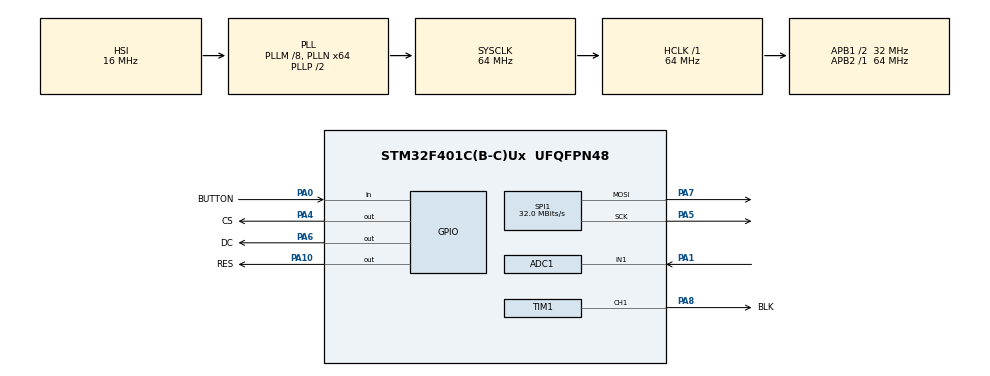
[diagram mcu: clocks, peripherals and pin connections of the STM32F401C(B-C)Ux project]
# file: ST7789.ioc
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ADC1.Channel-0\#ChannelRegularConversion=ADC_CHANNEL_1
ADC1.NbrOfConversionFlag=1
ADC1.Rank-0\#ChannelRegularConversion=1
ADC1.SamplingTime-0\#ChannelRegularConversion=ADC_SAMPLETIME_3CYCLES
ADC1.master=1
Mcu.Family=STM32F4
Mcu.Name=STM32F401C(B-C)Ux
Mcu.Package=UFQFPN48
NVIC.PriorityGroup=NVIC_PRIORITYGROUP_4
PA0-WKUP.GPIO_Label=BUTTON
PA0-WKUP.GPIO_PuPd=GPIO_PULLDOWN
PA0-WKUP.Signal=GPIO_Input
PA1.Signal=ADCx_IN1
PA10.GPIO_Label=RES
PA10.Signal=GPIO_Output
PA13.Mode=Serial_Wire
PA13.Signal=SYS_JTMS-SWDIO
PA14.Mode=Serial_Wire
PA14.Signal=SYS_JTCK-SWCLK
PA4.GPIO_Label=CS
PA4.Signal=GPIO_Output
PA5.Mode=TX_Only_Simplex_Unidirect_Master
PA5.Signal=SPI1_SCK
PA6.GPIO_Label=DC
PA6.Signal=GPIO_Output
PA7.Mode=TX_Only_Simplex_Unidirect_Master
PA7.Signal=SPI1_MOSI
PA8.GPIO_Label=BLK
PA8.Signal=S_TIM1_CH1
PH0\ -\ OSC_IN.Mode=HSE-External-Oscillator
PH0\ -\ OSC_IN.Signal=RCC_OSC_IN
PH1\ -\ OSC_OUT.Mode=HSE-External-Oscillator
PH1\ -\ OSC_OUT.Signal=RCC_OSC_OUT
ProjectManager.HeapSize=0x200
ProjectManager.StackSize=0x400
ProjectManager.TargetToolchain=STM32CubeIDE
RCC.48MHZClocksFreq_Value=32000000
RCC.AHBFreq_Value=64000000
RCC.APB1CLKDivider=RCC_HCLK_DIV2
RCC.APB1Freq_Value=32000000
RCC.APB1TimFreq_Value=64000000
RCC.APB2Freq_Value=64000000
RCC.APB2TimFreq_Value=64000000
RCC.CortexFreq_Value=64000000
RCC.HCLKFreq_Value=64000000
RCC.HSE_VALUE=25000000
RCC.HSI_VALUE=16000000
RCC.LSE_VALUE=32768
RCC.PLLM=8
RCC.PLLN=64
RCC.SYSCLKFreq_VALUE=64000000
RCC.SYSCLKSource=RCC_SYSCLKSOURCE_PLLCLK
RCC.VCOOutputFreq_Value=128000000
SH.ADCx_IN1.0=ADC1_IN1,IN1
SH.S_TIM1_CH1.0=TIM1_CH1,PWM Generation1 CH1
SPI1.CLKPolarity=SPI_POLARITY_HIGH
SPI1.CalculateBaudRate=32.0 MBits/s
SPI1.Direction=SPI_DIRECTION_2LINES
SPI1.Mode=SPI_MODE_MASTER
SPI1.VirtualType=VM_MASTER
TIM1.Channel-PWM\ Generation1\ CH1=TIM_CHANNEL_1
TIM1.Period=209
TIM1.Prescaler=999
TIM1.Pulse-PWM\ Generation1\ CH1=105
board=custom

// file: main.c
/* USER CODE BEGIN Header */
/**
  ******************************************************************************
  * @file           : main.c
  * @brief          : Main program body
  ******************************************************************************
  * @attention
  *
  * Copyright (c) 2023 STMicroelectronics.
  * All rights reserved.
  *
  * This software is licensed under terms that can be found in the LICENSE file
  * in the root directory of this software component.
  * If no LICENSE file comes with this software, it is provided AS-IS.
  *
  ******************************************************************************
  */
/* USER CODE END Header */
#include "main.h"
#include "adc.h"
#include "spi.h"
#include "tim.h"
#include "gpio.h"

/* USER CODE BEGIN Includes */
#include <ST7789.h>
#include "fonts.h"
#include "stdio.h"
#include "analog_scale.h"
#include "string.h"
/* USER CODE END Includes */

/* USER CODE BEGIN PTD */
uint32_t  time = 0;
int val = 0;
int button_counter = 0;
/* USER CODE END PTD */

/* USER CODE BEGIN PD */
typedef struct {
	TIM_TypeDef *htim_bk;		//------- для подсветки с PWM:- таймер
	uint32_t channel_htim_bk;	//----------------------------- канал таймера

	GPIO_TypeDef *blk_port;		//просто для включения и выключения подсветки, если htim_bk = 0 (без PWM, определен порт вывода)
	uint16_t blk_pin;			//----------------------------------------------------------------------- пин порта

	uint8_t bk_percent;			//яркость подсветки для режима PWM, %
								//либо 0 - подсветка отключена, > 0 подсветка включена, если если htim_bk = 0 (без PWM, определен порт вывода)
} LCD_BackLight_data;

/* USER CODE END PD */

/* USER CODE BEGIN PV */
char trans_str[64];
uint16_t adc = 0;
/* USER CODE END PV */

void SystemClock_Config(void);

int main(void)
{

  /* MCU Configuration--------------------------------------------------------*/

  /* Reset of all peripherals, Initializes the Flash interface and the Systick. */
  HAL_Init();

  /* Configure the system clock */
  SystemClock_Config();

  /* Initialize all configured peripherals */
  MX_GPIO_Init();
  MX_SPI1_Init();
  MX_ADC1_Init();
  MX_TIM1_Init();
  /* USER CODE BEGIN 2 */

  ST7789_Init();
  /*LCD_BackLight_data bkl_data = { TIM1,
		  	  	  	  	  	  	  TIM_CHANNEL_1,
 								  0,
 								  0,
 								  50  };*/
 ST7789_BacklightON();
  /*ST7789_FillScreen( RGB565(0, 0, 0) );
  ST7789_rotation( 1 );
  if((HAL_GetTick() - time) > 1000) // интервал 1000мс = 1сек
          {
     	ST7789_print( 30, 120, RGB565(255, 255, 255) , RGB565(0, 0, 0) , 1, &Font_16x26, 1, "Welcome to" );
     	  	ST7789_print( 50, 150, RGB565(255, 255, 255) , RGB565(0, 0, 0) , 1, &Font_16x26, 1, "SkySurf" );
                  time = HAL_GetTick();
          }
 	  	ST7789_FillScreen( RGB565(0, 0, 0) );*/
  /* USER CODE END 2 */

  /* Infinite loop */
  /* USER CODE BEGIN WHILE */
  while (1)
  {

	 /* HAL_ADC_Start(&hadc1); // запускаем преобразование сигнала АЦП
	           HAL_ADC_PollForConversion(&hadc1, 100); // ожидаем окончания преобразования
	           adc = HAL_ADC_GetValue(&hadc1); // читаем полученное значение в переменную adc
	           HAL_ADC_Stop(&hadc1); // останавливаем АЦП (не обязательно)
	           ST7789_print( 40, 40, RGB565(255, 255, 255) , RGB565(0, 0, 0) , 1, &Font_16x26, 1, "ADC = ");
	           //0ST7789_printADC( 130, 40, RGB565(255, 255, 255) , RGB565(0, 0, 0) , 1, &Font_16x26, 1, adc);

	           HAL_Delay(1000);
*/
	           //HAL_UART_Transmit(&huart1, (uint8_t*)trans_str, strlen(trans_str), 1000);
	           //HAL_Delay(1000);
    /* USER CODE END WHILE */

    /* USER CODE BEGIN 3 */
	  //ST7789_BacklightON();

	  	 	ST7789_print( 40, 40, RGB565(255, 255, 255) , RGB565(0, 0, 0) , 1, &Font_16x26, 1, "Mode" );
	  	 	ST7789_print( 40, 70, RGB565(255, 255, 255) , RGB565(0, 0, 0) , 1, &Font_16x26, 1, "Parameters" );
	  	  	ST7789_print( 40, 100, RGB565(255, 255, 255) , RGB565(0, 0, 0) , 1, &Font_16x26, 1, "Settings" );
	  	  	ST7789_print( 40, 130, RGB565(255, 255, 255) , RGB565(0, 0, 0) , 1, &Font_16x26, 1, "FW Update" );

	  			  if(HAL_GPIO_ReadPin(BUTTON_GPIO_Port, BUTTON_Pin)==0)
	  			  {
	  				  val++;
	  				  //HAL_Delay(1000);
	  			  }

	  	  	switch (val) {
	  	  case 1:
	  		ST7789_print( 20, 40, RGB565(255, 255, 255) , RGB565(0, 0, 0) , 1, &Font_16x26, 1, " " );
	  		ST7789_print( 20, 70, RGB565(255, 255, 255) , RGB565(0, 0, 0) , 1, &Font_16x26, 1, ">" );
	  		ST7789_print( 20, 100, RGB565(255, 255, 255) , RGB565(0, 0, 0) , 1, &Font_16x26, 1, " " );
	  		ST7789_print( 20, 130, RGB565(255, 255, 255) , RGB565(0, 0, 0) , 1, &Font_16x26, 1, " " );
	  	    break;
	  	  case 2:
	  		ST7789_print( 20, 40, RGB565(255, 255, 255) , RGB565(0, 0, 0) , 1, &Font_16x26, 1, " " );
	  		ST7789_print( 20, 70, RGB565(255, 255, 255) , RGB565(0, 0, 0) , 1, &Font_16x26, 1, " " );
	  		ST7789_print( 20, 100, RGB565(255, 255, 255) , RGB565(0, 0, 0) , 1, &Font_16x26, 1, ">" );
	  		ST7789_print( 20, 130, RGB565(255, 255, 255) , RGB565(0, 0, 0) , 1, &Font_16x26, 1, " " );
	  	    break;
	  	  case 3:
	  		ST7789_print( 20, 40, RGB565(255, 255, 255) , RGB565(0, 0, 0) , 1, &Font_16x26, 1, " " );
	  		ST7789_print( 20, 70, RGB565(255, 255, 255) , RGB565(0, 0, 0) , 1, &Font_16x26, 1, " " );
	  		ST7789_print( 20, 100, RGB565(255, 255, 255) , RGB565(0, 0, 0) , 1, &Font_16x26, 1, " " );
	  		ST7789_print( 20, 130, RGB565(255, 255, 255) , RGB565(0, 0, 0) , 1, &Font_16x26, 1, ">" );
	  		break;
	  	  default:
	  		ST7789_print( 20, 40, RGB565(255, 255, 255) , RGB565(0, 0, 0) , 1, &Font_16x26, 1, ">" );
	  		ST7789_print( 20, 70, RGB565(255, 255, 255) , RGB565(0, 0, 0) , 1, &Font_16x26, 1, " " );
	  		ST7789_print( 20, 100, RGB565(255, 255, 255) , RGB565(0, 0, 0) , 1, &Font_16x26, 1, " " );
	  		ST7789_print( 20, 130, RGB565(255, 255, 255) , RGB565(0, 0, 0) , 1, &Font_16x26, 1, " " );
	  		val = 0;
	  	    break;
	  	  }

	  	// установка ротации дисплея не обязательно так как по умолчанию стоит режим 1 ( всего 4 режима 1,2,3,4 )

	  // рисуем треугольник пустотелый
	  	//ST7789_DrawTriangle(20, 50, 100, 50, 50, 50, RGB565(0, 0, 0) );
/*
	  	ST7789_print( 20, 40, RGB565(255, 255, 255) , RGB565(0, 0, 0) , 1, &Font_16x26, 1, ">" );
	 	ST7789_print( 40, 40, RGB565(255, 255, 255) , RGB565(0, 0, 0) , 1, &Font_16x26, 1, "Mode" );

	 	ST7789_print( 40, 70, RGB565(255, 255, 255) , RGB565(0, 0, 0) , 1, &Font_16x26, 1, "Parameters" );
	  	ST7789_print( 40, 100, RGB565(255, 255, 255) , RGB565(0, 0, 0) , 1, &Font_16x26, 1, "Settings" );
	  	ST7789_print( 40, 130, RGB565(255, 255, 255) , RGB565(0, 0, 0) , 1, &Font_16x26, 1, "FW Update" );
	  	ST7789_InversionMode(0);
*/
  }
  /* USER CODE END 3 */
}

void SystemClock_Config(void)
{
  RCC_OscInitTypeDef RCC_OscInitStruct = {0};
  RCC_ClkInitTypeDef RCC_ClkInitStruct = {0};

  /** Configure the main internal regulator output voltage
  */
  __HAL_RCC_PWR_CLK_ENABLE();
  __HAL_PWR_VOLTAGESCALING_CONFIG(PWR_REGULATOR_VOLTAGE_SCALE2);

  /** Initializes the RCC Oscillators according to the specified parameters
  * in the RCC_OscInitTypeDef structure.
  */
  RCC_OscInitStruct.OscillatorType = RCC_OSCILLATORTYPE_HSI;
  RCC_OscInitStruct.HSIState = RCC_HSI_ON;
  RCC_OscInitStruct.HSICalibrationValue = RCC_HSICALIBRATION_DEFAULT;
  RCC_OscInitStruct.PLL.PLLState = RCC_PLL_ON;
  RCC_OscInitStruct.PLL.PLLSource = RCC_PLLSOURCE_HSI;
  RCC_OscInitStruct.PLL.PLLM = 8;
  RCC_OscInitStruct.PLL.PLLN = 64;
  RCC_OscInitStruct.PLL.PLLP = RCC_PLLP_DIV2;
  RCC_OscInitStruct.PLL.PLLQ = 4;
  if (HAL_RCC_OscConfig(&RCC_OscInitStruct) != HAL_OK)
  {
    Error_Handler();
  }

  /** Initializes the CPU, AHB and APB buses clocks
  */
  RCC_ClkInitStruct.ClockType = RCC_CLOCKTYPE_HCLK|RCC_CLOCKTYPE_SYSCLK
                              |RCC_CLOCKTYPE_PCLK1|RCC_CLOCKTYPE_PCLK2;
  RCC_ClkInitStruct.SYSCLKSource = RCC_SYSCLKSOURCE_PLLCLK;
  RCC_ClkInitStruct.AHBCLKDivider = RCC_SYSCLK_DIV1;
  RCC_ClkInitStruct.APB1CLKDivider = RCC_HCLK_DIV2;
  RCC_ClkInitStruct.APB2CLKDivider = RCC_HCLK_DIV1;

  if (HAL_RCC_ClockConfig(&RCC_ClkInitStruct, FLASH_LATENCY_2) != HAL_OK)
  {
    Error_Handler();
  }
}

void Error_Handler(void)
{
  __disable_irq();
  while (1)
  {
  }
}
